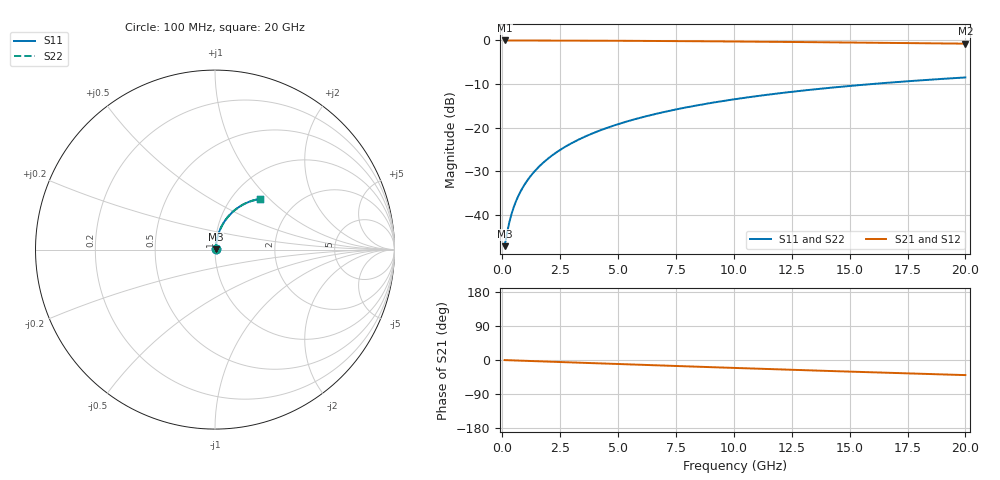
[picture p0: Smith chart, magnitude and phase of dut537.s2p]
! Touchstone file exported from HFSS 2026.1.0
!  File:  C:/ffzhzh/LocalFiles/Ansys_Project_Files/temp_train_BSMRDL_537_1783014865_46388.aedt
!  Generated:  01:55:51 AM Jul  3, 2026
!  Design:  BSMRDL
!  Project:  temp_train_BSMRDL_537_1783014865_46388
! Variables:
!  h_bsmrdl = 2.69um
!  h_ox = 20um
!  h_rdl = 5um
!  h_sub = 80um
!  h_tmrdl = 5um
!  h_tsv = 80um
!  h_via = 3um
!  l_bsmrdl = 564.37um
!  l_sub = 964.37um
!  l_tmrdl = 200um
!  m_sub = 200um
!  pitch = 47.66um
!  r_tsv = 6um
!  s_tmrdl = 10um
!  w_bsmrdl = 21.65um
!  w_sub = 500um
!  w_tmrdl = 12um
!  x_tsv_center1 = 206um
!  x_tsv_center2 = 792.02um
!  x_tsv_center3 = 1004.02um
!  x_tsv_center4 = 1590.04um
!  x_tsv_center5 = 1802.04um
!  x_tsv_center6 = 2388.06um
# GHz S MA R 50.000000
! Terminal data exported
! Port[1] = BSM_RDL1_1_T1
! Port[2] = BSM_RDL1_1_T2
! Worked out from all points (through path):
!   200 points, 100 MHz to 20 GHz, reference 50 ohm
!   highest |S21| = -0.03 dB at 100 MHz (marker M1); lowest = -0.8 dB at 20 GHz (marker M2)
!   group delay of S21, straight-line fit = 5.54 ps
!   lowest |S11| = -47.1 dB at 100 MHz (marker M3), VSWR 1.01, Z = 50.4 + j0.246 ohm
!   |S11| at or under -10 dB: start of sweep to 15.96 GHz
!   |S22| runs from -47.1 to -8.5 dB; largest |S21 - S12| = 5.1e-15
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0.1  0.004421 33.4  0.9963 -0.2  0.9963 -0.2  0.004421 33.4
! Gamma 0 0 0 0
! Port Impedance 50 0 50 0
0.2  0.006165 51.6  0.9962 -0.5  0.9962 -0.5  0.006165 51.6
0.3  0.008214 60.7  0.996 -0.7  0.996 -0.7  0.008214 60.7
0.4  0.01034 65.8  0.9959 -0.9  0.9959 -0.9  0.01034 65.8
0.5  0.01248 69.1  0.9957 -1.1  0.9957 -1.1  0.01248 69.1
0.6  0.01462 71.4  0.9956 -1.3  0.9956 -1.3  0.01462 71.4
0.8  0.01891 74.4  0.9953 -1.7  0.9953 -1.7  0.01891 74.4
1.1  0.02537 76.9  0.995 -2.4  0.995 -2.4  0.02537 76.9
1.3  0.02969 77.9  0.9948 -2.8  0.9948 -2.8  0.02969 77.9
1.6  0.03621 78.8  0.9945 -3.4  0.9945 -3.4  0.03621 78.8
2.1  0.04712 79.4  0.9939 -4.5  0.9939 -4.5  0.04712 79.4
2.7  0.06021 79.3  0.9931 -5.8  0.9931 -5.8  0.06021 79.3
3.5  0.07761 78.6  0.9916 -7.5  0.9916 -7.5  0.07761 78.6
4.2  0.09273 77.6  0.9901 -9.0  0.9901 -9.0  0.09273 77.6
5  0.1098 76.3  0.9881 -10.6  0.9881 -10.6  0.1098 76.3
5.9  0.1289 74.7  0.9855 -12.5  0.9855 -12.5  0.1289 74.7
6.8  0.1476 73.1  0.9825 -14.4  0.9825 -14.4  0.1476 73.1
8.3  0.178 70.2  0.9768 -17.5  0.9768 -17.5  0.178 70.2
10.1  0.2132 66.8  0.969 -21.1  0.969 -21.1  0.2132 66.8
13.4  0.2735 60.5  0.9527 -27.6  0.9527 -27.6  0.2735 60.5
16.7  0.3278 54.4  0.9346 -33.8  0.9346 -33.8  0.3278 54.4
20  0.3761 48.5  0.9158 -39.8  0.9158 -39.8  0.3761 48.6
